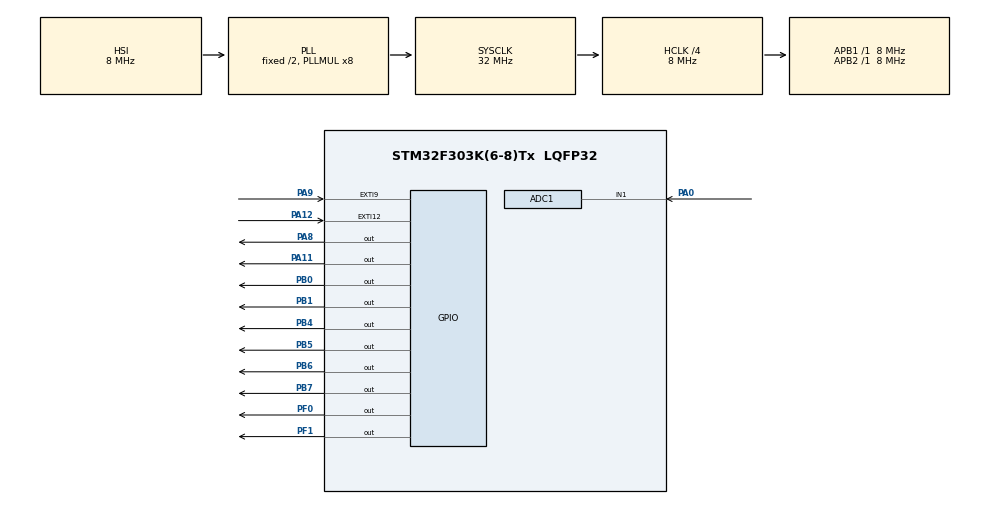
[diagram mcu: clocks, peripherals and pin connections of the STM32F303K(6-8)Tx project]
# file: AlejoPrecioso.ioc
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ADC1.Channel-0\#ChannelRegularConversion=ADC_CHANNEL_1
ADC1.ClockPrescaler=ADC_CLOCK_SYNC_PCLK_DIV2
ADC1.ContinuousConvMode=ENABLE
ADC1.DMAContinuousRequests=DISABLE
ADC1.DataAlign=ADC_DATAALIGN_RIGHT
ADC1.DiscontinuousConvMode=DISABLE
ADC1.EOCSelection=ADC_EOC_SINGLE_CONV
ADC1.EnableAnalogWatchDog1=false
ADC1.EnableAnalogWatchDog2=false
ADC1.EnableAnalogWatchDog3=false
ADC1.EnableInjectedConversion=ENABLE
ADC1.EnableRegularConversion=ENABLE
ADC1.ExternalTrigConv=ADC_SOFTWARE_START
ADC1.ExternalTrigConvEdge=ADC_EXTERNALTRIGCONVEDGE_NONE
ADC1.InjNumberOfConversion=0
ADC1.LowPowerAutoWait=DISABLE
ADC1.NbrOfConversion=1
ADC1.NbrOfConversionFlag=1
ADC1.Offset-0\#ChannelRegularConversion=0
ADC1.OffsetNumber-0\#ChannelRegularConversion=ADC_OFFSET_NONE
ADC1.Overrun=ADC_OVR_DATA_OVERWRITTEN
ADC1.Rank-0\#ChannelRegularConversion=1
ADC1.Resolution=ADC_RESOLUTION_12B
ADC1.SamplingTime-0\#ChannelRegularConversion=ADC_SAMPLETIME_1CYCLE_5
ADC1.ScanConvMode=ADC_SCAN_DISABLE
ADC1.SubFamily=STM32F303x8
ADC1.master=1
Mcu.Family=STM32F3
Mcu.Name=STM32F303K(6-8)Tx
Mcu.Package=LQFP32
NVIC.EXTI15_10_IRQn=true\:0\:0\:false\:false\:true\:true
NVIC.EXTI9_5_IRQn=true\:0\:0\:false\:false\:true\:true
NVIC.PriorityGroup=NVIC_PRIORITYGROUP_4
PA0.Mode=IN1-Single-Ended
PA0.Signal=ADC1_IN1
PA11.Signal=GPIO_Output
PA12.Signal=GPXTI12
PA8.Signal=GPIO_Output
PA9.GPIO_ModeDefaultEXTI=GPIO_MODE_IT_RISING
PA9.Signal=GPXTI9
PB0.Signal=GPIO_Output
PB1.Signal=GPIO_Output
PB4.Signal=GPIO_Output
PB5.Signal=GPIO_Output
PB6.Signal=GPIO_Output
PB7.Signal=GPIO_Output
PF0\ /\ OSC_IN.Signal=GPIO_Output
PF1\ /\ OSC_OUT.Signal=GPIO_Output
ProjectManager.HeapSize=0x200
ProjectManager.StackSize=0x400
ProjectManager.TargetToolchain=TrueSTUDIO
RCC.AHBCLKDivider=RCC_SYSCLK_DIV4
RCC.AHBFreq_Value=8000000
RCC.APB1Freq_Value=8000000
RCC.APB1TimFreq_Value=8000000
RCC.APB2Freq_Value=8000000
RCC.APB2TimFreq_Value=8000000
RCC.CortexFreq_Value=8000000
RCC.HCLKFreq_Value=8000000
RCC.HSE_VALUE=8000000
RCC.HSI_VALUE=8000000
RCC.PLLMUL=RCC_PLL_MUL8
RCC.SYSCLKFreq_VALUE=32000000
RCC.SYSCLKSourceVirtual=RCC_SYSCLKSOURCE_PLLCLK
board=NUCLEO-F303K8

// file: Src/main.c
/**
  ******************************************************************************
  * @file           : main.c
  * @brief          : Main program body
  ******************************************************************************
  ** This notice applies to any and all portions of this file
  * that are not between comment pairs USER CODE BEGIN and
  * USER CODE END. Other portions of this file, whether
  * inserted by the user or by software development tools
  * are owned by their respective copyright owners.
  *
  * COPYRIGHT(c) 2018 STMicroelectronics
  *
  * Redistribution and use in source and binary forms, with or without modification,
  * are permitted provided that the following conditions are met:
  *   1. Redistributions of source code must retain the above copyright notice,
  *      this list of conditions and the following disclaimer.
  *   2. Redistributions in binary form must reproduce the above copyright notice,
  *      this list of conditions and the following disclaimer in the documentation
  *      and/or other materials provided with the distribution.
  *   3. Neither the name of STMicroelectronics nor the names of its contributors
  *      may be used to endorse or promote products derived from this software
  *      without specific prior written permission.
  *
  * THIS SOFTWARE IS PROVIDED BY THE COPYRIGHT HOLDERS AND CONTRIBUTORS "AS IS"
  * AND ANY EXPRESS OR IMPLIED WARRANTIES, INCLUDING, BUT NOT LIMITED TO, THE
  * IMPLIED WARRANTIES OF MERCHANTABILITY AND FITNESS FOR A PARTICULAR PURPOSE ARE
  * DISCLAIMED. IN NO EVENT SHALL THE COPYRIGHT HOLDER OR CONTRIBUTORS BE LIABLE
  * FOR ANY DIRECT, INDIRECT, INCIDENTAL, SPECIAL, EXEMPLARY, OR CONSEQUENTIAL
  * DAMAGES (INCLUDING, BUT NOT LIMITED TO, PROCUREMENT OF SUBSTITUTE GOODS OR
  * SERVICES; LOSS OF USE, DATA, OR PROFITS; OR BUSINESS INTERRUPTION) HOWEVER
  * CAUSED AND ON ANY THEORY OF LIABILITY, WHETHER IN CONTRACT, STRICT LIABILITY,
  * OR TORT (INCLUDING NEGLIGENCE OR OTHERWISE) ARISING IN ANY WAY OUT OF THE USE
  * OF THIS SOFTWARE, EVEN IF ADVISED OF THE POSSIBILITY OF SUCH DAMAGE.
  *
  ******************************************************************************
  */
#include "main.h"
#include "stm32f3xx_hal.h"

ADC_HandleTypeDef hadc1;

/* USER CODE BEGIN PV */
/* Private variables ---------------------------------------------------------*/
int i = 0;
/* USER CODE END PV */

void SystemClock_Config(void);
static void MX_GPIO_Init(void);
static void MX_ADC1_Init(void);

/* USER CODE BEGIN PFP */
/* Private function prototypes -----------------------------------------------*/
ADC_HandleTypeDef hadc1;

/* USER CODE END PFP */

/* USER CODE BEGIN 0 */
void test(){
	int max = 0;
	int current = 0;
	int init = 0;
  /* USER CODE END EXTI9_5_IRQn 0 */
  /* USER CODE BEGIN EXTI9_5_IRQn 1 */
  turn_led(5,GPIO_PIN_SET);
  init = HAL_ADC_GetValue(&hadc1);

  while(1){
	  printf("ME GUSTAN LOS PENES\n");// ya se que los printf no funcionan
	  current = HAL_ADC_GetValue(&hadc1);
	  if(current >= max){
		  max = current;
	  }
	  if(current < max/2) {
		  break;
	  }
  }
  current = max;
}
/* USER CODE END 0 */

int main(void)
{

  /* MCU Configuration----------------------------------------------------------*/

  /* Reset of all peripherals, Initializes the Flash interface and the Systick. */
  HAL_Init();

  /* Configure the system clock */
  SystemClock_Config();

  /* Initialize all configured peripherals */
  MX_GPIO_Init();
  MX_ADC1_Init();

  /* Infinite loop */
  while (1)
  {

  }

}

void SystemClock_Config(void)
{

  RCC_OscInitTypeDef RCC_OscInitStruct;
  RCC_ClkInitTypeDef RCC_ClkInitStruct;

    /**Initializes the CPU, AHB and APB busses clocks
    */
  RCC_OscInitStruct.OscillatorType = RCC_OSCILLATORTYPE_HSI;
  RCC_OscInitStruct.HSIState = RCC_HSI_ON;
  RCC_OscInitStruct.HSICalibrationValue = 16;
  RCC_OscInitStruct.PLL.PLLState = RCC_PLL_ON;
  RCC_OscInitStruct.PLL.PLLSource = RCC_PLLSOURCE_HSI;
  RCC_OscInitStruct.PLL.PLLMUL = RCC_PLL_MUL8;
  if (HAL_RCC_OscConfig(&RCC_OscInitStruct) != HAL_OK)
  {
    _Error_Handler(__FILE__, __LINE__);
  }

    /**Initializes the CPU, AHB and APB busses clocks
    */
  RCC_ClkInitStruct.ClockType = RCC_CLOCKTYPE_HCLK|RCC_CLOCKTYPE_SYSCLK
                              |RCC_CLOCKTYPE_PCLK1|RCC_CLOCKTYPE_PCLK2;
  RCC_ClkInitStruct.SYSCLKSource = RCC_SYSCLKSOURCE_PLLCLK;
  RCC_ClkInitStruct.AHBCLKDivider = RCC_SYSCLK_DIV4;
  RCC_ClkInitStruct.APB1CLKDivider = RCC_HCLK_DIV1;
  RCC_ClkInitStruct.APB2CLKDivider = RCC_HCLK_DIV1;

  if (HAL_RCC_ClockConfig(&RCC_ClkInitStruct, FLASH_LATENCY_0) != HAL_OK)
  {
    _Error_Handler(__FILE__, __LINE__);
  }

    /**Configure the Systick interrupt time
    */
  HAL_SYSTICK_Config(HAL_RCC_GetHCLKFreq()/1000);

    /**Configure the Systick
    */
  HAL_SYSTICK_CLKSourceConfig(SYSTICK_CLKSOURCE_HCLK);

  /* SysTick_IRQn interrupt configuration */
  HAL_NVIC_SetPriority(SysTick_IRQn, 0, 0);
}

/* ADC1 init function */
static void MX_ADC1_Init(void)
{

  ADC_MultiModeTypeDef multimode;
  ADC_ChannelConfTypeDef sConfig;

    /**Common config
    */
  hadc1.Instance = ADC1;
  hadc1.Init.ClockPrescaler = ADC_CLOCK_SYNC_PCLK_DIV2;
  hadc1.Init.Resolution = ADC_RESOLUTION_12B;
  hadc1.Init.ScanConvMode = ADC_SCAN_DISABLE;
  hadc1.Init.ContinuousConvMode = ENABLE;
  hadc1.Init.DiscontinuousConvMode = DISABLE;
  hadc1.Init.ExternalTrigConvEdge = ADC_EXTERNALTRIGCONVEDGE_NONE;
  hadc1.Init.ExternalTrigConv = ADC_SOFTWARE_START;
  hadc1.Init.DataAlign = ADC_DATAALIGN_RIGHT;
  hadc1.Init.NbrOfConversion = 1;
  hadc1.Init.DMAContinuousRequests = DISABLE;
  hadc1.Init.EOCSelection = ADC_EOC_SINGLE_CONV;
  hadc1.Init.LowPowerAutoWait = DISABLE;
  hadc1.Init.Overrun = ADC_OVR_DATA_OVERWRITTEN;
  if (HAL_ADC_Init(&hadc1) != HAL_OK)
  {
    _Error_Handler(__FILE__, __LINE__);
  }

    /**Configure the ADC multi-mode
    */
  multimode.Mode = ADC_MODE_INDEPENDENT;
  if (HAL_ADCEx_MultiModeConfigChannel(&hadc1, &multimode) != HAL_OK)
  {
    _Error_Handler(__FILE__, __LINE__);
  }

    /**Configure Regular Channel
    */
  sConfig.Channel = ADC_CHANNEL_1;
  sConfig.Rank = ADC_REGULAR_RANK_1;
  sConfig.SingleDiff = ADC_SINGLE_ENDED;
  sConfig.SamplingTime = ADC_SAMPLETIME_1CYCLE_5;
  sConfig.OffsetNumber = ADC_OFFSET_NONE;
  sConfig.Offset = 0;
  if (HAL_ADC_ConfigChannel(&hadc1, &sConfig) != HAL_OK)
  {
    _Error_Handler(__FILE__, __LINE__);
  }

}

/** Configure pins as
        * Analog
        * Input
        * Output
        * EVENT_OUT
        * EXTI
*/
static void MX_GPIO_Init(void)
{

  GPIO_InitTypeDef GPIO_InitStruct;

  /* GPIO Ports Clock Enable */
  __HAL_RCC_GPIOF_CLK_ENABLE();
  __HAL_RCC_GPIOA_CLK_ENABLE();
  __HAL_RCC_GPIOB_CLK_ENABLE();

  /*Configure GPIO pin Output Level */
  HAL_GPIO_WritePin(GPIOF, GPIO_PIN_0|GPIO_PIN_1, GPIO_PIN_RESET);

  /*Configure GPIO pin Output Level */
  HAL_GPIO_WritePin(GPIOB, GPIO_PIN_0|GPIO_PIN_1|GPIO_PIN_4|GPIO_PIN_5
                          |GPIO_PIN_6|GPIO_PIN_7, GPIO_PIN_RESET);

  /*Configure GPIO pin Output Level */
  HAL_GPIO_WritePin(GPIOA, GPIO_PIN_8|GPIO_PIN_11, GPIO_PIN_RESET);

  /*Configure GPIO pins : PF0 PF1 */
  GPIO_InitStruct.Pin = GPIO_PIN_0|GPIO_PIN_1;
  GPIO_InitStruct.Mode = GPIO_MODE_OUTPUT_PP;
  GPIO_InitStruct.Pull = GPIO_NOPULL;
  GPIO_InitStruct.Speed = GPIO_SPEED_FREQ_LOW;
  HAL_GPIO_Init(GPIOF, &GPIO_InitStruct);

  /*Configure GPIO pins : PB0 PB1 PB4 PB5
                           PB6 PB7 */
  GPIO_InitStruct.Pin = GPIO_PIN_0|GPIO_PIN_1|GPIO_PIN_4|GPIO_PIN_5
                          |GPIO_PIN_6|GPIO_PIN_7;
  GPIO_InitStruct.Mode = GPIO_MODE_OUTPUT_PP;
  GPIO_InitStruct.Pull = GPIO_NOPULL;
  GPIO_InitStruct.Speed = GPIO_SPEED_FREQ_LOW;
  HAL_GPIO_Init(GPIOB, &GPIO_InitStruct);

  /*Configure GPIO pins : PA8 PA11 */
  GPIO_InitStruct.Pin = GPIO_PIN_8|GPIO_PIN_11;
  GPIO_InitStruct.Mode = GPIO_MODE_OUTPUT_PP;
  GPIO_InitStruct.Pull = GPIO_NOPULL;
  GPIO_InitStruct.Speed = GPIO_SPEED_FREQ_LOW;
  HAL_GPIO_Init(GPIOA, &GPIO_InitStruct);

  /*Configure GPIO pins : PA9 PA12 */
  GPIO_InitStruct.Pin = GPIO_PIN_9|GPIO_PIN_12;
  GPIO_InitStruct.Mode = GPIO_MODE_IT_RISING;
  GPIO_InitStruct.Pull = GPIO_NOPULL;
  HAL_GPIO_Init(GPIOA, &GPIO_InitStruct);

  /* EXTI interrupt init*/
  HAL_NVIC_SetPriority(EXTI9_5_IRQn, 0, 0);
  HAL_NVIC_EnableIRQ(EXTI9_5_IRQn);

  HAL_NVIC_SetPriority(EXTI15_10_IRQn, 0, 0);
  HAL_NVIC_EnableIRQ(EXTI15_10_IRQn);

}

void _Error_Handler(char *file, int line)
{
  /* USER CODE BEGIN Error_Handler_Debug */
  /* User can add his own implementation to report the HAL error return state */
  while(1)
  {
	  printf("Pos petИ\n");
  }
  /* USER CODE END Error_Handler_Debug */
}

/************************ (C) COPYRIGHT STMicroelectronics *****END OF FILE****/
